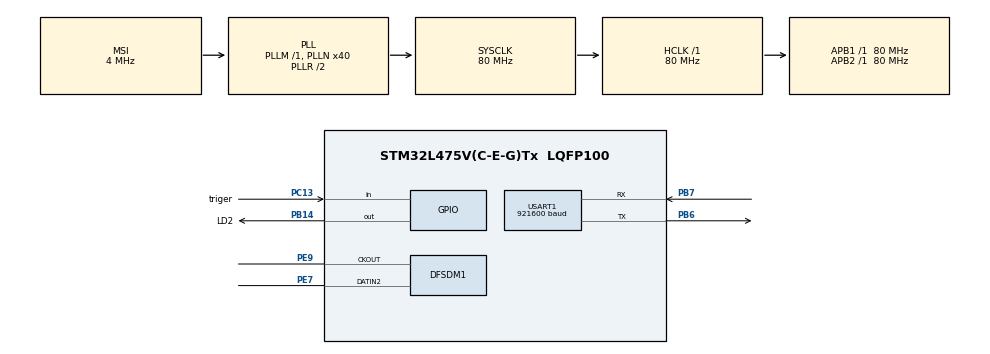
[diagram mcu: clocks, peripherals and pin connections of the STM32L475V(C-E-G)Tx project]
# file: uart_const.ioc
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DFSDM1.Divider=40
DFSDM1.DmaMode_reg_FIL0=ENABLE
DFSDM1.FastMode_reg_FIL0=ENABLE
DFSDM1.FilterOrder_CH2=DFSDM_CHANNEL_FASTSINC_ORDER
DFSDM1.Filter_regChannel_FIL0=DFSDM_CHANNEL_2
DFSDM1.Filter_regContinuousMode_FIL0=DFSDM_CONTINUOUS_CONV_ON
DFSDM1.Fosr_FIL0=40
DFSDM1.Iosr_FIL0=1
DFSDM1.Oversampling_CH2=4
DFSDM1.RightBitShift_CH2=0x0
DFSDM1.SincOrder_FIL0=DFSDM_FILTER_SINC3_ORDER
Dma.DFSDM1_FLT0.0.Direction=DMA_PERIPH_TO_MEMORY
Dma.DFSDM1_FLT0.0.Instance=DMA1_Channel4
Dma.DFSDM1_FLT0.0.MemDataAlignment=DMA_MDATAALIGN_WORD
Dma.DFSDM1_FLT0.0.MemInc=DMA_MINC_ENABLE
Dma.DFSDM1_FLT0.0.Mode=DMA_CIRCULAR
Dma.DFSDM1_FLT0.0.PeriphDataAlignment=DMA_PDATAALIGN_WORD
Dma.DFSDM1_FLT0.0.PeriphInc=DMA_PINC_DISABLE
Dma.DFSDM1_FLT0.0.Priority=DMA_PRIORITY_HIGH
Dma.Request0=DFSDM1_FLT0
Mcu.Family=STM32L4
Mcu.Name=STM32L475V(C-E-G)Tx
Mcu.Package=LQFP100
NVIC.DFSDM1_FLT0_IRQn=true\:0\:0\:false\:false\:true\:true\:true\:true
NVIC.DMA1_Channel4_IRQn=true\:0\:0\:false\:false\:true\:false\:true\:true
NVIC.PriorityGroup=NVIC_PRIORITYGROUP_4
NVIC.USART1_IRQn=true\:0\:0\:false\:false\:true\:true\:true\:true
PA13\ (JTMS-SWDIO).Mode=Trace_Asynchronous_SW
PA13\ (JTMS-SWDIO).Signal=SYS_JTMS-SWDIO
PA14\ (JTCK-SWCLK).Mode=Trace_Asynchronous_SW
PA14\ (JTCK-SWCLK).Signal=SYS_JTCK-SWCLK
PB14.GPIO_Label=LD2
PB14.GPIO_Speed=GPIO_SPEED_FREQ_MEDIUM
PB14.Signal=GPIO_Output
PB3\ (JTDO-TRACESWO).Mode=Trace_Asynchronous_SW
PB3\ (JTDO-TRACESWO).Signal=SYS_JTDO-SWO
PB6.Mode=Asynchronous
PB6.Signal=USART1_TX
PB7.Mode=Asynchronous
PB7.Signal=USART1_RX
PC13.GPIO_Label=triger
PC13.Signal=GPIO_Input
PE7.Signal=S_DATAIN2DFSDM1
PE9.Signal=S_CKOUTDFSDM1
ProjectManager.HeapSize=0x200
ProjectManager.StackSize=0x400
ProjectManager.TargetToolchain=STM32CubeIDE
RCC.AHBFreq_Value=80000000
RCC.APB1Freq_Value=80000000
RCC.APB1TimFreq_Value=80000000
RCC.APB2Freq_Value=80000000
RCC.APB2TimFreq_Value=80000000
RCC.CortexFreq_Value=80000000
RCC.HCLKFreq_Value=80000000
RCC.HSE_VALUE=8000000
RCC.HSI_VALUE=16000000
RCC.LSE_VALUE=32768
RCC.MSI_VALUE=4000000
RCC.PLLN=40
RCC.SYSCLKFreq_VALUE=80000000
RCC.SYSCLKSource=RCC_SYSCLKSOURCE_PLLCLK
RCC.VCOOutputFreq_Value=160000000
SH.S_CKOUTDFSDM1.0=DFSDM1_CKOUT,PDM_SPI_input_from_ch2_and_internal_clock
SH.S_DATAIN2DFSDM1.0=DFSDM1_DATIN2,PDM_SPI_input_from_ch2_and_internal_clock
USART1.BaudRate=921600
USART1.VirtualMode-Asynchronous=VM_ASYNC
board=custom

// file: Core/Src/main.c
/* USER CODE BEGIN Header */
/**
  ******************************************************************************
  * @file           : main.c
  * @brief          : Main program body
  ******************************************************************************
  * @attention
  *
  * Copyright (c) 2024 STMicroelectronics.
  * All rights reserved.
  *
  * This software is licensed under terms that can be found in the LICENSE file
  * in the root directory of this software component.
  * If no LICENSE file comes with this software, it is provided AS-IS.
  *
  ******************************************************************************
  */
/* USER CODE END Header */
#include "main.h"

DFSDM_Filter_HandleTypeDef hdfsdm1_filter0;
DFSDM_Channel_HandleTypeDef hdfsdm1_channel2;
DMA_HandleTypeDef hdma_dfsdm1_flt0;

UART_HandleTypeDef huart1;

/* USER CODE BEGIN PV */
#define AUDIO_BUF 64 //amount of buffer samples
int i = 0;
int32_t RecBuff [AUDIO_BUF]; //pdm data buffer
int16_t PlayBuff1 [AUDIO_BUF/2];//PCM data buffer
int16_t PlayBuff2 [AUDIO_BUF/2];//PCM data buffer
uint32_t DmaRecHalfBuffCplt =0;//mic halfdata sent
uint32_t DmaRecBuffCplt = 0;//mic transfer finished
int16_t	minthreshold = 400;
int16_t	maxthreshold = 3000;
//int16_t trigger = 32767;
int16_t test1 = 0;
uint8_t davka = 0;
uint8_t Test[] = "jednotiek\r\n";
///vyhladavanie pola dlzok///
uint32_t simbuf1 = 0; //simple 32bit buffer
uint32_t simbuf2 = 0; //simple 32bit buffer
unsigned int count = 0;
uint32_t pattern = 0b01110;  // Binárny vzorec, ktorý hľadáme (01110)
unsigned int pattern_length = 5; // Dĺžka vzorca (5 bitov)

/* USER CODE END PV */

void SystemClock_Config(void);
static void MX_GPIO_Init(void);
static void MX_DMA_Init(void);
static void MX_DFSDM1_Init(void);
static void MX_USART1_UART_Init(void);

/* USER CODE BEGIN 0 */
//funkcia na posielanie dat cez uart
//void UART_DMA_Transmit(int16_t* pBuffer, uint16_t size)
//{
    // Čakáme na dokončenie predchádzajúceho prenosu
  //  if (HAL_UART_GetState(&huart1) != HAL_UART_STATE_READY)
   // {
  //      return;  // UART nie je pripravený, môže byť ešte aktívny iný prenos
  //  }

    // Spustenie prenosu cez DMA
  //  if (HAL_UART_Transmit_DMA(&huart1, (uint8_t*)pBuffer, size * sizeof(int16_t)) != HAL_OK)
  //  {
  //      Error_Handler(); // Funkcia na spracovanie chýb
  //  }
//}
///////funkcia hlada cvaknutia v case///
unsigned int count_pattern(uint32_t simbuf) {

    // Prejdeme celé číslo 'a' a porovnáme každý 5-bitový segment
    for (int i = 0; i <= 27; i++) {  // Posúvame vzorec po celom čísle (od 0 do 27)
        uint32_t shifted = simbuf >> i;  // Posuneme číslo o 'i' bitov doprava
        if ((shifted & 0b11111) == pattern) {  // Skontrolujeme, či sa 5-bitový vzorec zhoduje
            count++;
        }
    }

    return count;
}
// Funkcia na hladanie cvakov v amplitude - porovnáva číslo a ak je v požadovanom rozsahu, pripočíta jeden bit do uint32_t
void check_and_increment(int number, uint32_t *counter) {
    // Kontrola, či číslo je v rozsahu -3000 až -400 alebo 400 až 3000
    if ((number >= -maxthreshold && number <= -minthreshold) || (number >= minthreshold && number <= maxthreshold)) {
        // Ak je v rozsahu, inkrementujeme premennej counter
        (*counter)++;
    }
}

/* USER CODE END 0 */

int main(void)
{

  /* MCU Configuration--------------------------------------------------------*/

  /* Reset of all peripherals, Initializes the Flash interface and the Systick. */
  HAL_Init();

  /* Configure the system clock */
  SystemClock_Config();

  /* Initialize all configured peripherals */
  MX_GPIO_Init();
  MX_DMA_Init();
  MX_DFSDM1_Init();
  MX_USART1_UART_Init();
  /* USER CODE BEGIN 2 */
  HAL_DFSDM_FilterRegularStart_DMA (&hdfsdm1_filter0, (int32_t*) RecBuff, AUDIO_BUF);
  //HAL_UART_Transmit_DMA(&huart1, (uint8_t*)PlayBuff1, sizeof(PlayBuff1));
  /* USER CODE END 2 */

  /* Infinite loop */
  while (1)
  {

    /* USER CODE BEGIN 3 */

	 		if (DmaRecHalfBuffCplt == 1) //processing of the first half of the buffer
	 		{
	 	  /*
	 	  Store values on Play buff */
	 		  for( i = 0; i < AUDIO_BUF/2; i++){
	 			 PlayBuff1[i] = RecBuff [i] >> 16;//example of PCM data postprocessing
	 			 	 // zavoláme funkciu na zistenie amplitudovej podmienky pre každé číslo
	 			 check_and_increment(PlayBuff1[i], &simbuf1);

	 			 //ak je znak z mikrofonu rovny triggru zniz ho o 1
	 			 //if (PlayBuff1[i]>=trigger)
	 		  	 //{
	 		  	//	 PlayBuff1[i]=32766;
	 		  	 //}
	 			 DmaRecHalfBuffCplt  = 0;
	 		  	//HAL_UART_Transmit_DMA(&huart1, (uint8_t*)PlayBuff[i], sizeof(int16_t));
	 		  }
	 		 // Spustenie prenosu cez DMA pre prvú polovicu bufferu
	 		  //PlayBuff1[0]=trigger;
	 		  //zavolame funkciu na zistenie podmienky v case
	 		  davka = count_pattern(simbuf1);
	 		  HAL_UART_Transmit_DMA(&huart1, (uint8_t*)PlayBuff1, (AUDIO_BUF/2) * sizeof(int16_t));
	 		}
	 		if (DmaRecBuffCplt == 1)//processing of the second half of the buffer
	 		{
	 			/* Store values on Play buff */
	 		  for(  i = AUDIO_BUF/2; i < AUDIO_BUF; i++){
	 			  PlayBuff2[i] = RecBuff [i] >> 16;//example of PCM data postprocessing
	 			  //zavolame funkciu na zistenie amplit. podmienky
	 			  check_and_increment(PlayBuff2[i], &simbuf2);
	 			  //test1=PlayBuff2[i];
	 			  //ak sa data z mikrofonu=trigger zniz o 1 (false trig protection)
	 			  //if (PlayBuff2[i]>=trigger)
	 			  //{
	 				//  PlayBuff2[i]=32766;
	 			  //}
	 			  DmaRecBuffCplt  = 0;
	 			  ///prenos dat pre druhu polovicu
	 			  //HAL_UART_Transmit_DMA(&huart1, (uint8_t*)PlayBuff[i], sizeof(int16_t));
	 		  }
	 		 davka = davka + (count_pattern(simbuf2));
	 		  //uint32_t a = 0b11110111011101011110; // Príklad čísla
	 		   // printf("Počet výskytov vzorca 01110: %u\n", count_pattern(a));
	 		    //return 0;
	 		 HAL_UART_Transmit(&huart1, (uint8_t*)&davka, sizeof(davka),10);
	 		 HAL_UART_Transmit(&huart1, (uint8_t*)&Test,  sizeof(Test),10);
	 		 HAL_Delay(10000);
	}

//	 HAL_GPIO_WritePin(GPIOB, GPIO_PIN_14, GPIO_PIN_RESET);

  }
  /* USER CODE END 3 */
}

void SystemClock_Config(void)
{
  RCC_OscInitTypeDef RCC_OscInitStruct = {0};
  RCC_ClkInitTypeDef RCC_ClkInitStruct = {0};

  /** Configure the main internal regulator output voltage
  */
  if (HAL_PWREx_ControlVoltageScaling(PWR_REGULATOR_VOLTAGE_SCALE1) != HAL_OK)
  {
    Error_Handler();
  }

  /** Initializes the RCC Oscillators according to the specified parameters
  * in the RCC_OscInitTypeDef structure.
  */
  RCC_OscInitStruct.OscillatorType = RCC_OSCILLATORTYPE_MSI;
  RCC_OscInitStruct.MSIState = RCC_MSI_ON;
  RCC_OscInitStruct.MSICalibrationValue = 0;
  RCC_OscInitStruct.MSIClockRange = RCC_MSIRANGE_6;
  RCC_OscInitStruct.PLL.PLLState = RCC_PLL_ON;
  RCC_OscInitStruct.PLL.PLLSource = RCC_PLLSOURCE_MSI;
  RCC_OscInitStruct.PLL.PLLM = 1;
  RCC_OscInitStruct.PLL.PLLN = 40;
  RCC_OscInitStruct.PLL.PLLP = RCC_PLLP_DIV7;
  RCC_OscInitStruct.PLL.PLLQ = RCC_PLLQ_DIV2;
  RCC_OscInitStruct.PLL.PLLR = RCC_PLLR_DIV2;
  if (HAL_RCC_OscConfig(&RCC_OscInitStruct) != HAL_OK)
  {
    Error_Handler();
  }

  /** Initializes the CPU, AHB and APB buses clocks
  */
  RCC_ClkInitStruct.ClockType = RCC_CLOCKTYPE_HCLK|RCC_CLOCKTYPE_SYSCLK
                              |RCC_CLOCKTYPE_PCLK1|RCC_CLOCKTYPE_PCLK2;
  RCC_ClkInitStruct.SYSCLKSource = RCC_SYSCLKSOURCE_PLLCLK;
  RCC_ClkInitStruct.AHBCLKDivider = RCC_SYSCLK_DIV1;
  RCC_ClkInitStruct.APB1CLKDivider = RCC_HCLK_DIV1;
  RCC_ClkInitStruct.APB2CLKDivider = RCC_HCLK_DIV1;

  if (HAL_RCC_ClockConfig(&RCC_ClkInitStruct, FLASH_LATENCY_4) != HAL_OK)
  {
    Error_Handler();
  }
}

static void MX_DFSDM1_Init(void)
{

  hdfsdm1_filter0.Instance = DFSDM1_Filter0;
  hdfsdm1_filter0.Init.RegularParam.Trigger = DFSDM_FILTER_SW_TRIGGER;
  hdfsdm1_filter0.Init.RegularParam.FastMode = ENABLE;
  hdfsdm1_filter0.Init.RegularParam.DmaMode = ENABLE;
  hdfsdm1_filter0.Init.FilterParam.SincOrder = DFSDM_FILTER_SINC3_ORDER;
  hdfsdm1_filter0.Init.FilterParam.Oversampling = 40;
  hdfsdm1_filter0.Init.FilterParam.IntOversampling = 1;
  if (HAL_DFSDM_FilterInit(&hdfsdm1_filter0) != HAL_OK)
  {
    Error_Handler();
  }
  hdfsdm1_channel2.Instance = DFSDM1_Channel2;
  hdfsdm1_channel2.Init.OutputClock.Activation = ENABLE;
  hdfsdm1_channel2.Init.OutputClock.Selection = DFSDM_CHANNEL_OUTPUT_CLOCK_SYSTEM;
  hdfsdm1_channel2.Init.OutputClock.Divider = 40;
  hdfsdm1_channel2.Init.Input.Multiplexer = DFSDM_CHANNEL_EXTERNAL_INPUTS;
  hdfsdm1_channel2.Init.Input.DataPacking = DFSDM_CHANNEL_STANDARD_MODE;
  hdfsdm1_channel2.Init.Input.Pins = DFSDM_CHANNEL_SAME_CHANNEL_PINS;
  hdfsdm1_channel2.Init.SerialInterface.Type = DFSDM_CHANNEL_SPI_RISING;
  hdfsdm1_channel2.Init.SerialInterface.SpiClock = DFSDM_CHANNEL_SPI_CLOCK_INTERNAL;
  hdfsdm1_channel2.Init.Awd.FilterOrder = DFSDM_CHANNEL_FASTSINC_ORDER;
  hdfsdm1_channel2.Init.Awd.Oversampling = 4;
  hdfsdm1_channel2.Init.Offset = 0;
  hdfsdm1_channel2.Init.RightBitShift = 0x0;
  if (HAL_DFSDM_ChannelInit(&hdfsdm1_channel2) != HAL_OK)
  {
    Error_Handler();
  }
  if (HAL_DFSDM_FilterConfigRegChannel(&hdfsdm1_filter0, DFSDM_CHANNEL_2, DFSDM_CONTINUOUS_CONV_ON) != HAL_OK)
  {
    Error_Handler();
  }

}

static void MX_USART1_UART_Init(void)
{

  huart1.Instance = USART1;
  huart1.Init.BaudRate = 115200;
  huart1.Init.WordLength = UART_WORDLENGTH_8B;
  huart1.Init.StopBits = UART_STOPBITS_1;
  huart1.Init.Parity = UART_PARITY_NONE;
  huart1.Init.Mode = UART_MODE_TX_RX;
  huart1.Init.HwFlowCtl = UART_HWCONTROL_NONE;
  huart1.Init.OverSampling = UART_OVERSAMPLING_16;
  huart1.Init.OneBitSampling = UART_ONE_BIT_SAMPLE_DISABLE;
  huart1.AdvancedInit.AdvFeatureInit = UART_ADVFEATURE_NO_INIT;
  if (HAL_UART_Init(&huart1) != HAL_OK)
  {
    Error_Handler();
  }

}

static void MX_DMA_Init(void)
{

  /* DMA controller clock enable */
  __HAL_RCC_DMA1_CLK_ENABLE();

  /* DMA interrupt init */
  /* DMA1_Channel4_IRQn interrupt configuration */
  HAL_NVIC_SetPriority(DMA1_Channel4_IRQn, 0, 0);
  HAL_NVIC_EnableIRQ(DMA1_Channel4_IRQn);

}

static void MX_GPIO_Init(void)
{
  GPIO_InitTypeDef GPIO_InitStruct = {0};

  /* GPIO Ports Clock Enable */
  __HAL_RCC_GPIOC_CLK_ENABLE();
  __HAL_RCC_GPIOE_CLK_ENABLE();
  __HAL_RCC_GPIOB_CLK_ENABLE();
  __HAL_RCC_GPIOA_CLK_ENABLE();

  /*Configure GPIO pin Output Level */
  HAL_GPIO_WritePin(LD2_GPIO_Port, LD2_Pin, GPIO_PIN_RESET);

  /*Configure GPIO pin : triger_Pin */
  GPIO_InitStruct.Pin = triger_Pin;
  GPIO_InitStruct.Mode = GPIO_MODE_INPUT;
  GPIO_InitStruct.Pull = GPIO_NOPULL;
  HAL_GPIO_Init(triger_GPIO_Port, &GPIO_InitStruct);

  /*Configure GPIO pin : LD2_Pin */
  GPIO_InitStruct.Pin = LD2_Pin;
  GPIO_InitStruct.Mode = GPIO_MODE_OUTPUT_PP;
  GPIO_InitStruct.Pull = GPIO_NOPULL;
  GPIO_InitStruct.Speed = GPIO_SPEED_FREQ_MEDIUM;
  HAL_GPIO_Init(LD2_GPIO_Port, &GPIO_InitStruct);

}

/* USER CODE BEGIN 4 */
void
HAL_DFSDM_FilterRegConvHalfCpltCallback (DFSDM_Filter_HandleTypeDef *hdfsdm_filter)
{
DmaRecHalfBuffCplt = 1;
}
void
HAL_DFSDM_FilterRegConvCpltCallback (DFSDM_Filter_HandleTypeDef *hdfsdm_filter)
{
DmaRecBuffCplt = 1;
}
/* USER CODE END 4 */

void Error_Handler(void)
{
  __disable_irq();
  while (1)
  {
  }
}
